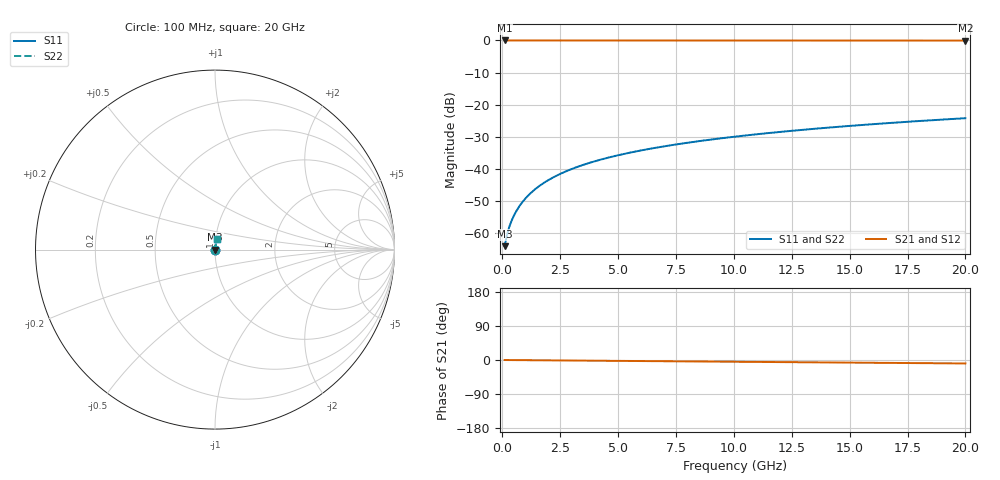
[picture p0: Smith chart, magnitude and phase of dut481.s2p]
! Touchstone file exported from HFSS 2026.1.0
!  File:  C:/ffzhzh/LocalFiles/Ansys_Project_Files/temp_train_TMRDL_481_1783006389_4048.aedt
!  Generated:  11:34:27 PM Jul  2, 2026
!  Design:  TMRDL
!  Project:  temp_train_TMRDL_481_1783006389_4048
! Variables:
!  h_bsmrdl = 2um
!  h_ox = 20um
!  h_rdl = 5um
!  h_sub = 80um
!  h_tmrdl = 4.89um
!  h_tsv = 80um
!  h_via = 3um
!  l_bsmrdl = 300um
!  l_sub = 520.85um
!  l_tmrdl = 120.85um
!  m_sub = 200um
!  pitch = 45.07um
!  r_tsv = 6um
!  s_tmrdl = 10um
!  w_bsmrdl = 18um
!  w_sub = 500um
!  w_tmrdl = 29.41um
!  x_tsv_center1 = 135.555um
!  x_tsv_center2 = 453.555um
!  x_tsv_center3 = 603.815um
!  x_tsv_center4 = 921.815um
!  x_tsv_center5 = 1072.075um
!  x_tsv_center6 = 1390.075um
# GHz S MA R 50.000000
! Terminal data exported
! Port[1] = TM_RDL1_1_T1
! Port[2] = TM_RDL1_1_T2
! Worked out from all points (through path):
!   200 points, 100 MHz to 20 GHz, reference 50 ohm
!   highest |S21| = 0.00 dB at 100 MHz (marker M1); lowest = 0.0 dB at 20 GHz (marker M2)
!   group delay of S21, straight-line fit = 1.26 ps
!   lowest |S11| = -64.0 dB at 100 MHz (marker M3), VSWR 1.00, Z = 50 + j0.04 ohm
!   |S11| at or under -10 dB: start of sweep to end of sweep
!   |S22| runs from -64.0 to -24.2 dB; largest |S21 - S12| = 3.4e-15
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0.1  0.000631 39.3  0.9995 -0.1  0.9995 -0.1  0.000631 39.3
! Gamma 0 0 0 0
! Port Impedance 50 0 50 0
0.2  0.0009367 55.2  0.9995 -0.1  0.9995 -0.1  0.0009367 55.2
0.3  0.001253 62.5  0.9994 -0.1  0.9994 -0.1  0.001253 62.5
0.4  0.001567 67.0  0.9994 -0.2  0.9994 -0.2  0.001567 67.0
0.5  0.001881 70.1  0.9994 -0.2  0.9994 -0.2  0.001881 70.1
0.6  0.002197 72.5  0.9993 -0.3  0.9993 -0.3  0.002197 72.5
0.8  0.002836 75.8  0.9993 -0.4  0.9993 -0.4  0.002836 75.8
1.1  0.00381 78.7  0.9993 -0.5  0.9993 -0.5  0.00381 78.7
1.3  0.004464 79.9  0.9992 -0.6  0.9992 -0.6  0.004464 79.9
1.6  0.005448 81.1  0.9992 -0.8  0.9992 -0.8  0.005448 81.1
2.1  0.007087 82.2  0.9991 -1.0  0.9991 -1.0  0.007087 82.2
2.7  0.009042 82.8  0.999 -1.3  0.999 -1.3  0.009042 82.8
3.5  0.01162 83.0  0.9989 -1.6  0.9989 -1.6  0.01162 83.0
4.2  0.01385 83.0  0.9987 -2.0  0.9987 -2.0  0.01385 83.0
5  0.01637 82.9  0.9985 -2.3  0.9985 -2.3  0.01637 82.9
5.9  0.01918 82.8  0.9983 -2.7  0.9983 -2.7  0.01918 82.8
6.8  0.02196 82.6  0.9981 -3.2  0.9981 -3.2  0.02196 82.6
8.3  0.02656 82.2  0.9978 -3.8  0.9978 -3.8  0.02656 82.2
10.1  0.03204 81.7  0.9974 -4.7  0.9974 -4.7  0.03204 81.7
13.4  0.04202 80.6  0.9967 -6.1  0.9967 -6.1  0.04202 80.6
16.7  0.05192 79.4  0.996 -7.6  0.996 -7.6  0.05192 79.4
20  0.06174 78.1  0.9951 -9.1  0.9951 -9.1  0.06174 78.1
